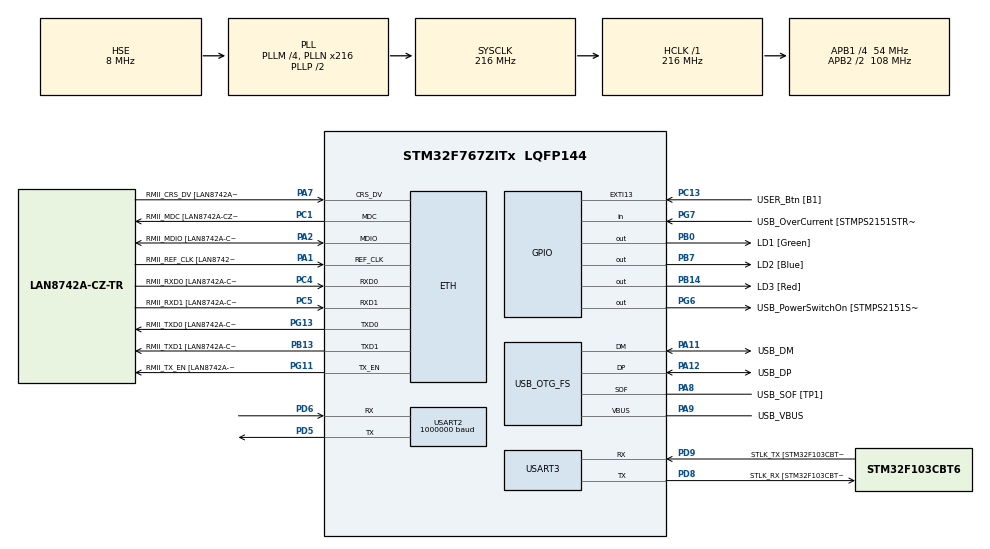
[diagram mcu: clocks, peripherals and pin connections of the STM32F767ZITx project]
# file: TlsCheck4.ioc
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ETH.MediaInterface=ETH_MEDIA_INTERFACE_RMII
ETH.PHY_Name=LAN8742A_PHY_ADDRESS
ETH.PHY_Value=0
ETH.PhyAddress=0
FREERTOS.Tasks01=defaultTask,24,128,StartDefaultTask,Default,NULL,Dynamic,NULL,NULL;myMsgTask,8,128,MsgStartTask,Default,NULL,Dynamic,NULL,NULL
LWIP.API_LIB_DEBUG=LWIP_DBG_ON
LWIP.API_MSG_DEBUG=LWIP_DBG_ON
LWIP.AUTOIP_DEBUG=LWIP_DBG_ON
LWIP.DHCP_DEBUG=LWIP_DBG_ON
LWIP.DNS_DEBUG=LWIP_DBG_ON
LWIP.ETHARP_DEBUG=LWIP_DBG_ON
LWIP.GATEWAY_ADDRESS=192.168.001.001
LWIP.ICMP_DEBUG=LWIP_DBG_ON
LWIP.IGMP_DEBUG=LWIP_DBG_ON
LWIP.INET_DEBUG=LWIP_DBG_ON
LWIP.IP_ADDRESS=192.168.001.011
LWIP.IP_DEBUG=LWIP_DBG_ON
LWIP.IP_REASS_DEBUG=LWIP_DBG_ON
LWIP.LWIP_ALTCP=1
LWIP.LWIP_ALTCP_TLS=1
LWIP.LWIP_DHCP=0
LWIP.MEMP_DEBUG=LWIP_DBG_ON
LWIP.MEMP_NUM_PBUF=160
LWIP.MEMP_OVERFLOW_CHECK=2
LWIP.MEM_DEBUG=LWIP_DBG_ON
LWIP.MEM_OVERFLOW_CHECK=2
LWIP.MEM_SIZE=16000
LWIP.NETIF_DEBUG=LWIP_DBG_ON
LWIP.NETMASK_ADDRESS=255.255.255.000
LWIP.PBUF_DEBUG=LWIP_DBG_ON
LWIP.PBUF_POOL_SIZE=160
LWIP.RAW_DEBUG=LWIP_DBG_ON
LWIP.SLIP_DEBUG=LWIP_DBG_ON
LWIP.SOCKETS_DEBUG=LWIP_DBG_ON
LWIP.SYS_DEBUG=LWIP_DBG_ON
LWIP.TCPIP_DEBUG=LWIP_DBG_ON
LWIP.TCP_CWND_DEBUG=LWIP_DBG_ON
LWIP.TCP_DEBUG=LWIP_DBG_ON
LWIP.TCP_FR_DEBUG=LWIP_DBG_ON
LWIP.TCP_INPUT_DEBUG=LWIP_DBG_ON
LWIP.TCP_OUTPUT_DEBUG=LWIP_DBG_ON
LWIP.TCP_QLEN_DEBUG=LWIP_DBG_ON
LWIP.TCP_RST_DEBUG=LWIP_DBG_ON
LWIP.TCP_RTO_DEBUG=LWIP_DBG_ON
LWIP.TCP_WND_DEBUG=LWIP_DBG_ON
LWIP.TIMERS_DEBUG=LWIP_DBG_ON
LWIP.UDP_DEBUG=LWIP_DBG_ON
LWIP.Version=v2.1.2_Cube
MBEDTLS.MBEDTLS_THREADING_C=1
Mcu.Family=STM32F7
Mcu.Name=STM32F767ZITx
Mcu.Package=LQFP144
NVIC.ETH_IRQn=true\:5\:0\:false\:false\:true\:true\:false\:true
NVIC.PriorityGroup=NVIC_PRIORITYGROUP_4
NVIC.TIM7_IRQn=true\:0\:0\:false\:false\:true\:false\:false\:true
NVIC.TimeBase=TIM7_IRQn
NVIC.TimeBaseIP=TIM7
PA1.GPIO_Label=RMII_REF_CLK [LAN8742A-CZ-TR_REFCLK0]
PA1.Mode=RMII
PA1.Signal=ETH_REF_CLK
PA10.GPIO_Label=USB_ID
PA10.Signal=USB_OTG_FS_ID
PA11.GPIO_Label=USB_DM
PA11.Mode=Device_Only
PA11.Signal=USB_OTG_FS_DM
PA12.GPIO_Label=USB_DP
PA12.Mode=Device_Only
PA12.Signal=USB_OTG_FS_DP
PA13.GPIO_Label=TMS
PA13.Mode=Serial_Wire
PA13.Signal=SYS_JTMS-SWDIO
PA14.GPIO_Label=TCK
PA14.Mode=Serial_Wire
PA14.Signal=SYS_JTCK-SWCLK
PA2.GPIO_Label=RMII_MDIO [LAN8742A-CZ-TR_MDIO]
PA2.Mode=RMII
PA2.Signal=ETH_MDIO
PA7.GPIO_Label=RMII_CRS_DV [LAN8742A-CZ-TR_CRS_DV]
PA7.Mode=RMII
PA7.Signal=ETH_CRS_DV
PA8.GPIO_Label=USB_SOF [TP1]
PA8.Mode=Activate_SOF_FS
PA8.Signal=USB_OTG_FS_SOF
PA9.GPIO_Label=USB_VBUS
PA9.Mode=Activate_VBUS
PA9.Signal=USB_OTG_FS_VBUS
PB0.GPIO_Label=LD1 [Green]
PB0.Signal=GPIO_Output
PB13.GPIO_Label=RMII_TXD1 [LAN8742A-CZ-TR_TXD1]
PB13.Mode=RMII
PB13.Signal=ETH_TXD1
PB14.GPIO_Label=LD3 [Red]
PB14.Signal=GPIO_Output
PB3.GPIO_Label=SWO
PB3.Signal=SYS_JTDO-SWO
PB7.GPIO_Label=LD2 [Blue]
PB7.Signal=GPIO_Output
PC1.GPIO_Label=RMII_MDC [LAN8742A-CZ-TR_MDC]
PC1.Mode=RMII
PC1.Signal=ETH_MDC
PC13.GPIO_Label=USER_Btn [B1]
PC13.Signal=GPXTI13
PC14/OSC32_IN.Mode=LSE-External-Oscillator
PC14/OSC32_IN.Signal=RCC_OSC32_IN
PC15/OSC32_OUT.Mode=LSE-External-Oscillator
PC15/OSC32_OUT.Signal=RCC_OSC32_OUT
PC4.GPIO_Label=RMII_RXD0 [LAN8742A-CZ-TR_RXD0]
PC4.Mode=RMII
PC4.Signal=ETH_RXD0
PC5.GPIO_Label=RMII_RXD1 [LAN8742A-CZ-TR_RXD1]
PC5.Mode=RMII
PC5.Signal=ETH_RXD1
PD5.Mode=Asynchronous
PD5.Signal=USART2_TX
PD6.Mode=Asynchronous
PD6.Signal=USART2_RX
PD8.GPIO_Label=STLK_RX [STM32F103CBT6_PA3]
PD8.Mode=Asynchronous
PD8.Signal=USART3_TX
PD9.GPIO_Label=STLK_TX [STM32F103CBT6_PA2]
PD9.Mode=Asynchronous
PD9.Signal=USART3_RX
PG11.GPIO_Label=RMII_TX_EN [LAN8742A-CZ-TR_TXEN]
PG11.Mode=RMII
PG11.Signal=ETH_TX_EN
PG13.GPIO_Label=RMII_TXD0 [LAN8742A-CZ-TR_TXD0]
PG13.Mode=RMII
PG13.Signal=ETH_TXD0
PG6.GPIO_Label=USB_PowerSwitchOn [STMPS2151STR_EN]
PG6.Signal=GPIO_Output
PG7.GPIO_Label=USB_OverCurrent [STMPS2151STR_FAULT]
PG7.Signal=GPIO_Input
PH0/OSC_IN.GPIO_Label=MCO [STM32F103CBT6_PA8]
PH0/OSC_IN.Mode=HSE-External-Clock-Source
PH0/OSC_IN.Signal=RCC_OSC_IN
PH1/OSC_OUT.Mode=HSE-External-Clock-Source
PH1/OSC_OUT.Signal=RCC_OSC_OUT
ProjectManager.HeapSize=0x1000
ProjectManager.StackSize=0x1000
ProjectManager.TargetToolchain=MDK-ARM V5.27
RCC.48MHZClocksFreq_Value=24000000
RCC.AHBFreq_Value=216000000
RCC.APB1CLKDivider=RCC_HCLK_DIV4
RCC.APB1Freq_Value=54000000
RCC.APB1TimFreq_Value=108000000
RCC.APB2CLKDivider=RCC_HCLK_DIV2
RCC.APB2Freq_Value=108000000
RCC.APB2TimFreq_Value=216000000
RCC.CortexFreq_Value=216000000
RCC.HCLKFreq_Value=216000000
RCC.HSE_VALUE=8000000
RCC.HSI_VALUE=16000000
RCC.PLL48CLockSelection=RCC_CLK48SOURCE_PLLSAIP
RCC.PLLM=4
RCC.PLLMUL=RCC_PLL_MUL9
RCC.PLLN=216
RCC.PLLQ=4
RCC.PLLSAIP=RCC_PLLSAIP_DIV8
RCC.PRESCALERUSB=RCC_USBCLKSOURCE_PLL_DIV1_5
RCC.SYSCLKFreq_VALUE=216000000
RCC.SYSCLKSource=RCC_SYSCLKSOURCE_PLLCLK
RCC.SYSCLKSourceVirtual=RCC_SYSCLKSOURCE_PLLCLK
RCC.USBFreq_Value=48000000
RCC.VCOOutputFreq_Value=432000000
USART2.BaudRate=1000000
USART2.VirtualMode-Asynchronous=VM_ASYNC
USART3.VirtualMode-Asynchronous=VM_ASYNC
USB_OTG_FS.VirtualMode=Device_Only
VP_FREERTOS_VS_CMSIS_V2.Mode=CMSIS_V2
VP_LWIP_VS_Enabled.Mode=Enabled
VP_MBEDTLS_VS_MBEDTLS.Mode=Enabled
VP_SYS_VS_tim7.Mode=TIM7
board=NUCLEO-F767ZI

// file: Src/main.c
/* USER CODE BEGIN Header */
/**
  ******************************************************************************
  * @file           : main.c
  * @brief          : Main program body
  ******************************************************************************
  * @attention
  *
  * <h2><center>&copy; Copyright (c) 2021 STMicroelectronics.
  * All rights reserved.</center></h2>
  *
  * This software component is licensed by ST under Ultimate Liberty license
  * SLA0044, the "License"; You may not use this file except in compliance with
  * the License. You may obtain a copy of the License at:
  *                             www.st.com/SLA0044
  *
  ******************************************************************************
  */
/* USER CODE END Header */
#include "main.h"
#include "cmsis_os.h"
#include "mbedtls.h"

/* USER CODE BEGIN Includes */
#include "mqtt.h"
#include "lwip/dns.h"
#include "lwip/altcp_tls.h"
#include "lwip.h"
#include "stm32f7xx_ll_usart.h"
/* USER CODE END Includes */

PCD_HandleTypeDef hpcd_USB_OTG_FS;

/* Definitions for defaultTask */
osThreadId_t defaultTaskHandle;
const osThreadAttr_t defaultTask_attributes = {
  .name = "defaultTask",
  .stack_size = 128 * 4,
  .priority = (osPriority_t) osPriorityNormal,
};
/* Definitions for myMsgTask */
osThreadId_t myMsgTaskHandle;
const osThreadAttr_t myMsgTask_attributes = {
  .name = "myMsgTask",
  .stack_size = 128 * 4,
  .priority = (osPriority_t) osPriorityLow,
};
/* USER CODE BEGIN PV */

int fputc(int ch,FILE *stream)
{
		if(ch == 10){
			fputc(13, stream);
		}

		LL_USART_TransmitData8(USART2, ch);

		while ( !LL_USART_IsActiveFlag_TXE(USART2) ) {
		}
    return (ch);
}

int fgetc(FILE *stream)
{//
 //return Usart1_Get_symbol ();
	return(0);
}

void exit(int Code){
	while(1){
		LL_USART_TransmitData8(USART2, 'A');
		volatile int i = 100000;
		while(--i>0){};
	}
};

/* USER CODE END PV */

void SystemClock_Config(void);
static void MX_GPIO_Init(void);
static void MX_USART3_UART_Init(void);
static void MX_USB_OTG_FS_PCD_Init(void);
static void MX_USART2_UART_Init(void);
void StartDefaultTask(void *argument);
void MsgStartTask(void *argument);

int main(void)
{

  /* MCU Configuration--------------------------------------------------------*/

  /* Reset of all peripherals, Initializes the Flash interface and the Systick. */
  HAL_Init();

  /* Configure the system clock */
  SystemClock_Config();

  /* Initialize all configured peripherals */
  MX_GPIO_Init();
  MX_USART3_UART_Init();
  MX_USB_OTG_FS_PCD_Init();
  MX_MBEDTLS_Init();
  MX_USART2_UART_Init();

  /* Init scheduler */
  osKernelInitialize();

  /* Create the thread(s) */
  /* creation of defaultTask */
  defaultTaskHandle = osThreadNew(StartDefaultTask, NULL, &defaultTask_attributes);

  /* creation of myMsgTask */
  myMsgTaskHandle = osThreadNew(MsgStartTask, NULL, &myMsgTask_attributes);

  /* Start scheduler */
  osKernelStart();

  /* We should never get here as control is now taken by the scheduler */
  /* Infinite loop */
  while (1)
  {

  }
}

void SystemClock_Config(void)
{
  RCC_OscInitTypeDef RCC_OscInitStruct = {0};
  RCC_ClkInitTypeDef RCC_ClkInitStruct = {0};
  RCC_PeriphCLKInitTypeDef PeriphClkInitStruct = {0};

  /** Configure LSE Drive Capability
  */
  HAL_PWR_EnableBkUpAccess();
  /** Configure the main internal regulator output voltage
  */
  __HAL_RCC_PWR_CLK_ENABLE();
  __HAL_PWR_VOLTAGESCALING_CONFIG(PWR_REGULATOR_VOLTAGE_SCALE1);
  /** Initializes the RCC Oscillators according to the specified parameters
  * in the RCC_OscInitTypeDef structure.
  */
  RCC_OscInitStruct.OscillatorType = RCC_OSCILLATORTYPE_HSE;
  RCC_OscInitStruct.HSEState = RCC_HSE_BYPASS;
  RCC_OscInitStruct.PLL.PLLState = RCC_PLL_ON;
  RCC_OscInitStruct.PLL.PLLSource = RCC_PLLSOURCE_HSE;
  RCC_OscInitStruct.PLL.PLLM = 4;
  RCC_OscInitStruct.PLL.PLLN = 216;
  RCC_OscInitStruct.PLL.PLLP = RCC_PLLP_DIV2;
  RCC_OscInitStruct.PLL.PLLQ = 4;
  if (HAL_RCC_OscConfig(&RCC_OscInitStruct) != HAL_OK)
  {
    Error_Handler();
  }
  /** Activate the Over-Drive mode
  */
  if (HAL_PWREx_EnableOverDrive() != HAL_OK)
  {
    Error_Handler();
  }
  /** Initializes the CPU, AHB and APB buses clocks
  */
  RCC_ClkInitStruct.ClockType = RCC_CLOCKTYPE_HCLK|RCC_CLOCKTYPE_SYSCLK
                              |RCC_CLOCKTYPE_PCLK1|RCC_CLOCKTYPE_PCLK2;
  RCC_ClkInitStruct.SYSCLKSource = RCC_SYSCLKSOURCE_PLLCLK;
  RCC_ClkInitStruct.AHBCLKDivider = RCC_SYSCLK_DIV1;
  RCC_ClkInitStruct.APB1CLKDivider = RCC_HCLK_DIV4;
  RCC_ClkInitStruct.APB2CLKDivider = RCC_HCLK_DIV2;

  if (HAL_RCC_ClockConfig(&RCC_ClkInitStruct, FLASH_LATENCY_7) != HAL_OK)
  {
    Error_Handler();
  }
  PeriphClkInitStruct.PeriphClockSelection = RCC_PERIPHCLK_USART2|RCC_PERIPHCLK_USART3
                              |RCC_PERIPHCLK_CLK48;
  PeriphClkInitStruct.PLLSAI.PLLSAIN = 192;
  PeriphClkInitStruct.PLLSAI.PLLSAIR = 2;
  PeriphClkInitStruct.PLLSAI.PLLSAIQ = 2;
  PeriphClkInitStruct.PLLSAI.PLLSAIP = RCC_PLLSAIP_DIV8;
  PeriphClkInitStruct.PLLSAIDivQ = 1;
  PeriphClkInitStruct.PLLSAIDivR = RCC_PLLSAIDIVR_2;
  PeriphClkInitStruct.Usart2ClockSelection = RCC_USART2CLKSOURCE_PCLK1;
  PeriphClkInitStruct.Usart3ClockSelection = RCC_USART3CLKSOURCE_PCLK1;
  PeriphClkInitStruct.Clk48ClockSelection = RCC_CLK48SOURCE_PLLSAIP;
  if (HAL_RCCEx_PeriphCLKConfig(&PeriphClkInitStruct) != HAL_OK)
  {
    Error_Handler();
  }
}

static void MX_USART2_UART_Init(void)
{

  LL_USART_InitTypeDef USART_InitStruct = {0};

  LL_GPIO_InitTypeDef GPIO_InitStruct = {0};

  /* Peripheral clock enable */
  LL_APB1_GRP1_EnableClock(LL_APB1_GRP1_PERIPH_USART2);

  LL_AHB1_GRP1_EnableClock(LL_AHB1_GRP1_PERIPH_GPIOD);
  /**USART2 GPIO Configuration
  PD5   ------> USART2_TX
  PD6   ------> USART2_RX
  */
  GPIO_InitStruct.Pin = LL_GPIO_PIN_5;
  GPIO_InitStruct.Mode = LL_GPIO_MODE_ALTERNATE;
  GPIO_InitStruct.Speed = LL_GPIO_SPEED_FREQ_VERY_HIGH;
  GPIO_InitStruct.OutputType = LL_GPIO_OUTPUT_PUSHPULL;
  GPIO_InitStruct.Pull = LL_GPIO_PULL_NO;
  GPIO_InitStruct.Alternate = LL_GPIO_AF_7;
  LL_GPIO_Init(GPIOD, &GPIO_InitStruct);

  GPIO_InitStruct.Pin = LL_GPIO_PIN_6;
  GPIO_InitStruct.Mode = LL_GPIO_MODE_ALTERNATE;
  GPIO_InitStruct.Speed = LL_GPIO_SPEED_FREQ_VERY_HIGH;
  GPIO_InitStruct.OutputType = LL_GPIO_OUTPUT_PUSHPULL;
  GPIO_InitStruct.Pull = LL_GPIO_PULL_NO;
  GPIO_InitStruct.Alternate = LL_GPIO_AF_7;
  LL_GPIO_Init(GPIOD, &GPIO_InitStruct);

  USART_InitStruct.BaudRate = 1000000;
  USART_InitStruct.DataWidth = LL_USART_DATAWIDTH_8B;
  USART_InitStruct.StopBits = LL_USART_STOPBITS_1;
  USART_InitStruct.Parity = LL_USART_PARITY_NONE;
  USART_InitStruct.TransferDirection = LL_USART_DIRECTION_TX_RX;
  USART_InitStruct.HardwareFlowControl = LL_USART_HWCONTROL_NONE;
  USART_InitStruct.OverSampling = LL_USART_OVERSAMPLING_16;
  LL_USART_Init(USART2, &USART_InitStruct);
  LL_USART_ConfigAsyncMode(USART2);
  LL_USART_Enable(USART2);

}

static void MX_USART3_UART_Init(void)
{

  LL_USART_InitTypeDef USART_InitStruct = {0};

  LL_GPIO_InitTypeDef GPIO_InitStruct = {0};

  /* Peripheral clock enable */
  LL_APB1_GRP1_EnableClock(LL_APB1_GRP1_PERIPH_USART3);

  LL_AHB1_GRP1_EnableClock(LL_AHB1_GRP1_PERIPH_GPIOD);
  /**USART3 GPIO Configuration
  PD8   ------> USART3_TX
  PD9   ------> USART3_RX
  */
  GPIO_InitStruct.Pin = LL_GPIO_PIN_8;
  GPIO_InitStruct.Mode = LL_GPIO_MODE_ALTERNATE;
  GPIO_InitStruct.Speed = LL_GPIO_SPEED_FREQ_VERY_HIGH;
  GPIO_InitStruct.OutputType = LL_GPIO_OUTPUT_PUSHPULL;
  GPIO_InitStruct.Pull = LL_GPIO_PULL_NO;
  GPIO_InitStruct.Alternate = LL_GPIO_AF_7;
  LL_GPIO_Init(GPIOD, &GPIO_InitStruct);

  GPIO_InitStruct.Pin = LL_GPIO_PIN_9;
  GPIO_InitStruct.Mode = LL_GPIO_MODE_ALTERNATE;
  GPIO_InitStruct.Speed = LL_GPIO_SPEED_FREQ_VERY_HIGH;
  GPIO_InitStruct.OutputType = LL_GPIO_OUTPUT_PUSHPULL;
  GPIO_InitStruct.Pull = LL_GPIO_PULL_NO;
  GPIO_InitStruct.Alternate = LL_GPIO_AF_7;
  LL_GPIO_Init(GPIOD, &GPIO_InitStruct);

  USART_InitStruct.BaudRate = 115200;
  USART_InitStruct.DataWidth = LL_USART_DATAWIDTH_8B;
  USART_InitStruct.StopBits = LL_USART_STOPBITS_1;
  USART_InitStruct.Parity = LL_USART_PARITY_NONE;
  USART_InitStruct.TransferDirection = LL_USART_DIRECTION_TX_RX;
  USART_InitStruct.HardwareFlowControl = LL_USART_HWCONTROL_NONE;
  USART_InitStruct.OverSampling = LL_USART_OVERSAMPLING_16;
  LL_USART_Init(USART3, &USART_InitStruct);
  LL_USART_ConfigAsyncMode(USART3);
  LL_USART_Enable(USART3);

}

static void MX_USB_OTG_FS_PCD_Init(void)
{

  hpcd_USB_OTG_FS.Instance = USB_OTG_FS;
  hpcd_USB_OTG_FS.Init.dev_endpoints = 6;
  hpcd_USB_OTG_FS.Init.speed = PCD_SPEED_FULL;
  hpcd_USB_OTG_FS.Init.dma_enable = DISABLE;
  hpcd_USB_OTG_FS.Init.phy_itface = PCD_PHY_EMBEDDED;
  hpcd_USB_OTG_FS.Init.Sof_enable = ENABLE;
  hpcd_USB_OTG_FS.Init.low_power_enable = DISABLE;
  hpcd_USB_OTG_FS.Init.lpm_enable = DISABLE;
  hpcd_USB_OTG_FS.Init.vbus_sensing_enable = ENABLE;
  hpcd_USB_OTG_FS.Init.use_dedicated_ep1 = DISABLE;
  if (HAL_PCD_Init(&hpcd_USB_OTG_FS) != HAL_OK)
  {
    Error_Handler();
  }

}

static void MX_GPIO_Init(void)
{
  GPIO_InitTypeDef GPIO_InitStruct = {0};

  /* GPIO Ports Clock Enable */
  __HAL_RCC_GPIOC_CLK_ENABLE();
  __HAL_RCC_GPIOH_CLK_ENABLE();
  __HAL_RCC_GPIOA_CLK_ENABLE();
  __HAL_RCC_GPIOB_CLK_ENABLE();
  __HAL_RCC_GPIOD_CLK_ENABLE();
  __HAL_RCC_GPIOG_CLK_ENABLE();

  /*Configure GPIO pin Output Level */
  HAL_GPIO_WritePin(GPIOB, LD1_Pin|LD3_Pin|LD2_Pin, GPIO_PIN_RESET);

  /*Configure GPIO pin Output Level */
  HAL_GPIO_WritePin(USB_PowerSwitchOn_GPIO_Port, USB_PowerSwitchOn_Pin, GPIO_PIN_RESET);

  /*Configure GPIO pin : USER_Btn_Pin */
  GPIO_InitStruct.Pin = USER_Btn_Pin;
  GPIO_InitStruct.Mode = GPIO_MODE_IT_RISING;
  GPIO_InitStruct.Pull = GPIO_NOPULL;
  HAL_GPIO_Init(USER_Btn_GPIO_Port, &GPIO_InitStruct);

  /*Configure GPIO pins : LD1_Pin LD3_Pin LD2_Pin */
  GPIO_InitStruct.Pin = LD1_Pin|LD3_Pin|LD2_Pin;
  GPIO_InitStruct.Mode = GPIO_MODE_OUTPUT_PP;
  GPIO_InitStruct.Pull = GPIO_NOPULL;
  GPIO_InitStruct.Speed = GPIO_SPEED_FREQ_LOW;
  HAL_GPIO_Init(GPIOB, &GPIO_InitStruct);

  /*Configure GPIO pin : USB_PowerSwitchOn_Pin */
  GPIO_InitStruct.Pin = USB_PowerSwitchOn_Pin;
  GPIO_InitStruct.Mode = GPIO_MODE_OUTPUT_PP;
  GPIO_InitStruct.Pull = GPIO_NOPULL;
  GPIO_InitStruct.Speed = GPIO_SPEED_FREQ_LOW;
  HAL_GPIO_Init(USB_PowerSwitchOn_GPIO_Port, &GPIO_InitStruct);

  /*Configure GPIO pin : USB_OverCurrent_Pin */
  GPIO_InitStruct.Pin = USB_OverCurrent_Pin;
  GPIO_InitStruct.Mode = GPIO_MODE_INPUT;
  GPIO_InitStruct.Pull = GPIO_NOPULL;
  HAL_GPIO_Init(USB_OverCurrent_GPIO_Port, &GPIO_InitStruct);

}

void StartDefaultTask(void *argument)
{
  for(;;)
  {
    osDelay(1);
  }
}

/* USER CODE BEGIN Header_MsgStartTask */
/**
* @brief Function implementing the myMsgTask thread.
* @param argument: Not used
* @retval None
*/

ip_addr_t 													server_ip;

/* Wait until this callback gets the IP */
static void mqtt_resolved_cb(const char *host, const ip_addr_t *ipaddr,
                             void *callback_arg)
{
  /* If resolved IP is known -> set it */
  if (ipaddr->addr != 0)
  {
    server_ip.addr = ipaddr->addr;
		printf("server_ip.addr =%s\n", ip4addr_ntoa(&server_ip));
  }
}

/* USER CODE END Header_MsgStartTask */
void MsgStartTask(void *argument)
{
  /* USER CODE BEGIN MsgStartTask */
  /* Infinite loop */
	printf("Started\n");

	const char tst_name[] = "google.com";

	err_t err = dns_gethostbyname(tst_name, &server_ip, mqtt_resolved_cb, NULL);

  for(;;)
  {
    osDelay(1);
  }
  /* USER CODE END MsgStartTask */
}

 /**
  * @brief  Period elapsed callback in non blocking mode
  * @note   This function is called  when TIM7 interrupt took place, inside
  * HAL_TIM_IRQHandler(). It makes a direct call to HAL_IncTick() to increment
  * a global variable "uwTick" used as application time base.
  * @param  htim : TIM handle
  * @retval None
  */
void HAL_TIM_PeriodElapsedCallback(TIM_HandleTypeDef *htim)
{
  if (htim->Instance == TIM7) {
    HAL_IncTick();
  }
}

void Error_Handler(void)
{
  __disable_irq();
  while (1)
  {
  }
}

/************************ (C) COPYRIGHT STMicroelectronics *****END OF FILE****/
